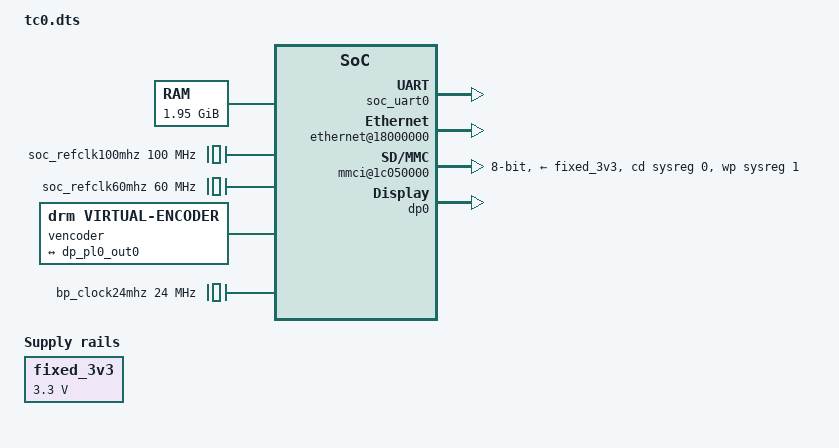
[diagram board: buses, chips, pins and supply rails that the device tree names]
/*
 * Copyright (c) 2020-2021, Arm Limited. All rights reserved.
 *
 * SPDX-License-Identifier: BSD-3-Clause
 */

/dts-v1/;

/ {
	compatible = "arm,tc0";
	interrupt-parent = <&gic>;
	#address-cells = <2>;
	#size-cells = <2>;

	aliases {
		serial0 = &soc_uart0;
	};

	chosen {
		stdout-path = "serial0:115200n8";
	};

	cpus {
		#address-cells = <1>;
		#size-cells = <0>;

		cpu-map {
			cluster0 {
				core0 {
					cpu = <&CPU0>;
				};
				core1 {
					cpu = <&CPU1>;
				};
				core2 {
					cpu = <&CPU2>;
				};
				core3 {
					cpu = <&CPU3>;
				};
				core4 {
					cpu = <&CPU4>;
				};
				core5 {
					cpu = <&CPU5>;
				};
				core6 {
					cpu = <&CPU6>;
				};
				core7 {
					cpu = <&CPU7>;
				};
			};
		};

		/*
		 * The timings below are just to demonstrate working cpuidle.
		 * These values may be inaccurate.
		 */
		idle-states {
			entry-method = "arm,psci";

			CPU_SLEEP_0: cpu-sleep-0 {
				compatible = "arm,idle-state";
				arm,psci-suspend-param = <0x0010000>;
				local-timer-stop;
				entry-latency-us = <300>;
				exit-latency-us = <1200>;
				min-residency-us = <2000>;
			};
			CLUSTER_SLEEP_0: cluster-sleep-0 {
				compatible = "arm,idle-state";
				arm,psci-suspend-param = <0x1010000>;
				local-timer-stop;
				entry-latency-us = <400>;
				exit-latency-us = <1200>;
				min-residency-us = <2500>;
			};
		};

		CPU0:cpu@0 {
			device_type = "cpu";
			compatible = "arm,armv8";
			reg = <0x0>;
			enable-method = "psci";
			clocks = <&scmi_dvfs 0>;
			cpu-idle-states = <&CPU_SLEEP_0 &CLUSTER_SLEEP_0>;
		};

		CPU1:cpu@100 {
			device_type = "cpu";
			compatible = "arm,armv8";
			reg = <0x100>;
			enable-method = "psci";
			clocks = <&scmi_dvfs 0>;
			cpu-idle-states = <&CPU_SLEEP_0 &CLUSTER_SLEEP_0>;
		};

		CPU2:cpu@200 {
			device_type = "cpu";
			compatible = "arm,armv8";
			reg = <0x200>;
			enable-method = "psci";
			clocks = <&scmi_dvfs 0>;
			cpu-idle-states = <&CPU_SLEEP_0 &CLUSTER_SLEEP_0>;
		};

		CPU3:cpu@300 {
			device_type = "cpu";
			compatible = "arm,armv8";
			reg = <0x300>;
			enable-method = "psci";
			clocks = <&scmi_dvfs 0>;
			cpu-idle-states = <&CPU_SLEEP_0 &CLUSTER_SLEEP_0>;
		};

		CPU4:cpu@400 {
			device_type = "cpu";
			compatible = "arm,armv8";
			reg = <0x400>;
			enable-method = "psci";
			clocks = <&scmi_dvfs 1>;
			cpu-idle-states = <&CPU_SLEEP_0 &CLUSTER_SLEEP_0>;
		};

		CPU5:cpu@500 {
			device_type = "cpu";
			compatible = "arm,armv8";
			reg = <0x500>;
			enable-method = "psci";
			clocks = <&scmi_dvfs 1>;
			cpu-idle-states = <&CPU_SLEEP_0 &CLUSTER_SLEEP_0>;
		};

		CPU6:cpu@600 {
			device_type = "cpu";
			compatible = "arm,armv8";
			reg = <0x600>;
			enable-method = "psci";
			clocks = <&scmi_dvfs 1>;
			cpu-idle-states = <&CPU_SLEEP_0 &CLUSTER_SLEEP_0>;
		};

		CPU7:cpu@700 {
			device_type = "cpu";
			compatible = "arm,armv8";
			reg = <0x700>;
			enable-method = "psci";
			clocks = <&scmi_dvfs 2>;
			cpu-idle-states = <&CPU_SLEEP_0 &CLUSTER_SLEEP_0>;
		};

	};

	memory@80000000 {
		device_type = "memory";
		reg = <0x0 0x80000000 0x0 0x7d000000>;
	};

	reserved-memory {
		#address-cells = <2>;
		#size-cells = <2>;
		ranges;

		optee@0xfce00000 {
			reg = <0x00000000 0xfce00000 0 0x00200000>;
			no-map;
		};
	};

	psci {
		compatible = "arm,psci-1.0", "arm,psci-0.2", "arm,psci";
		method = "smc";
	};

	sram: sram@6000000 {
		compatible = "mmio-sram";
		reg = <0x0 0x06000000 0x0 0x8000>;

		#address-cells = <1>;
		#size-cells = <1>;
		ranges = <0 0x0 0x06000000 0x8000>;

		cpu_scp_scmi_mem: scp-shmem@0 {
			compatible = "arm,scmi-shmem";
			reg = <0x0 0x80>;
		};
	};

	mbox_db_rx: mhu@45010000 {
		compatible = "arm,mhuv2","arm,primecell";
		reg = <0x0 0x45010000 0x0 0x1000>;
		clocks = <&soc_refclk100mhz>;
		clock-names = "apb_pclk";
		#mbox-cells = <1>;
		interrupts = <0 317 4>;
		interrupt-names = "mhu_rx";
		mhu-protocol = "doorbell";
	};

	mbox_db_tx: mhu@45000000 {
		compatible = "arm,mhuv2","arm,primecell";
		reg = <0x0 0x45000000 0x0 0x1000>;
		clocks = <&soc_refclk100mhz>;
		clock-names = "apb_pclk";
		#mbox-cells = <1>;
		interrupt-names = "mhu_tx";
		mhu-protocol = "doorbell";
	};

	scmi {
		compatible = "arm,scmi";
		method = "mailbox-doorbell";
		mbox-names = "tx", "rx";
		mboxes = <&mbox_db_tx 0 &mbox_db_rx 0>;
		shmem = <&cpu_scp_scmi_mem &cpu_scp_scmi_mem>;
		#address-cells = <1>;
		#size-cells = <0>;

		scmi_dvfs: protocol@13 {
			reg = <0x13>;
			#clock-cells = <1>;
		};

		scmi_clk: protocol@14 {
			reg = <0x14>;
			#clock-cells = <1>;
		};
	};

	gic: interrupt-controller@2c010000 {
		compatible = "arm,gic-600", "arm,gic-v3";
		#address-cells = <2>;
		#interrupt-cells = <3>;
		#size-cells = <2>;
		ranges;
		interrupt-controller;
		reg = <0x0 0x30000000 0 0x10000>, /* GICD */
		      <0x0 0x30080000 0 0x200000>; /* GICR */
		interrupts = <0x1 0x9 0x4>;
	};

	timer {
		compatible = "arm,armv8-timer";
		interrupts = <0x1 13 0x8>,
			     <0x1 14 0x8>,
			     <0x1 11 0x8>,
			     <0x1 10 0x8>;
	};

	soc_refclk100mhz: refclk100mhz {
		compatible = "fixed-clock";
		#clock-cells = <0>;
		clock-frequency = <100000000>;
		clock-output-names = "apb_pclk";
	};

	soc_refclk60mhz: refclk60mhz {
		compatible = "fixed-clock";
		#clock-cells = <0>;
		clock-frequency = <60000000>;
		clock-output-names = "iofpga_clk";
	};

	soc_uartclk:  uartclk {
		compatible = "fixed-clock";
		#clock-cells = <0>;
		clock-frequency = <50000000>;
		clock-output-names = "uartclk";
	};

	soc_uart0: uart@7ff80000 {
		compatible = "arm,pl011", "arm,primecell";
		reg = <0x0 0x7ff80000 0x0 0x1000>;
		interrupts = <0x0 116 0x4>;
		clocks = <&soc_uartclk>, <&soc_refclk100mhz>;
		clock-names = "uartclk", "apb_pclk";
		status = "okay";
	};

	vencoder {
		compatible = "drm,virtual-encoder";

		port {
			vencoder_in: endpoint {
				remote-endpoint = <&dp_pl0_out0>;
			};
		};

		display-timings {
			panel-timing {
				clock-frequency = <25175000>;
				hactive = <640>;
				vactive = <480>;
				hfront-porch = <16>;
				hback-porch = <48>;
				hsync-len = <96>;
				vfront-porch = <10>;
				vback-porch = <33>;
				vsync-len = <2>;
			};
		};

	};

	hdlcd: hdlcd@7ff60000 {
		compatible = "arm,hdlcd";
		reg = <0x0 0x7ff60000 0x0 0x1000>;
		interrupts = <0x0 117 0x4>;
		clocks = <&fake_hdlcd_clk>;
		clock-names = "pxlclk";
		status = "disabled";

		port {
			hdlcd_out: endpoint {
				remote-endpoint = <&vencoder_in>;
			};
		};
	};

	fake_hdlcd_clk: fake-hdlcd-clk {
		compatible = "fixed-clock";
		#clock-cells = <0>;
		clock-frequency = <25175000>;
		clock-output-names = "pxlclk";
	};

	ethernet@18000000 {
		compatible = "smsc,lan91c111";
		reg = <0x0 0x18000000 0x0 0x10000>;
		interrupts = <0 109 4>;
	};

	kmi@1c060000 {
		compatible = "arm,pl050", "arm,primecell";
		reg = <0x0 0x001c060000 0x0 0x1000>;
		interrupts = <0 197 4>;
		clocks = <&bp_clock24mhz>, <&bp_clock24mhz>;
		clock-names = "KMIREFCLK", "apb_pclk";
	};

	kmi@1c070000 {
		compatible = "arm,pl050", "arm,primecell";
		reg = <0x0 0x001c070000 0x0 0x1000>;
		interrupts = <0 103 4>;
		clocks = <&bp_clock24mhz>, <&bp_clock24mhz>;
		clock-names = "KMIREFCLK", "apb_pclk";
	};

	bp_clock24mhz: clock24mhz {
		compatible = "fixed-clock";
		#clock-cells = <0>;
		clock-frequency = <24000000>;
		clock-output-names = "bp:clock24mhz";
	};

	virtio_block@1c130000 {
		compatible = "virtio,mmio";
		reg = <0x0 0x1c130000 0x0 0x200>;
		interrupts = <0 204 4>;
	};

	sysreg: sysreg@1c010000 {
		compatible = "arm,vexpress-sysreg";
		reg = <0x0 0x001c010000 0x0 0x1000>;
		gpio-controller;
		#gpio-cells = <2>;
	};

	fixed_3v3: v2m-3v3 {
		compatible = "regulator-fixed";
		regulator-name = "3V3";
		regulator-min-microvolt = <3300000>;
		regulator-max-microvolt = <3300000>;
		regulator-always-on;
	};

	mmci@1c050000 {
		compatible = "arm,pl180", "arm,primecell";
		reg = <0x0 0x001c050000 0x0 0x1000>;
		interrupts = <0 107 0x4>,
			     <0 108 0x4>;
		cd-gpios = <&sysreg 0 0>;
		wp-gpios = <&sysreg 1 0>;
		bus-width = <8>;
		max-frequency = <12000000>;
		vmmc-supply = <&fixed_3v3>;
		clocks = <&bp_clock24mhz>, <&bp_clock24mhz>;
		clock-names = "mclk", "apb_pclk";
	};

	dp0: display@2cc00000 {
		#address-cells = <1>;
		#size-cells = <0>;
		compatible = "arm,mali-d71";
		reg = <0 0x2cc00000 0 0x20000>;
		interrupts = <0 69 4>;
		interrupt-names = "DPU";
		clocks = <&scmi_clk 0>;
		clock-names = "aclk";
		pl0: pipeline@0 {
			reg = <0>;
			clocks = <&scmi_clk 1>;
			clock-names = "pxclk";
			pl_id = <0>;
			ports {
				#address-cells = <1>;
				#size-cells = <0>;
				port@0 {
					reg = <0>;
					dp_pl0_out0: endpoint {
						remote-endpoint = <&vencoder_in>;
					};
				};
			};
		};

		pl1: pipeline@1 {
			reg = <1>;
			clocks = <&scmi_clk 2>;
			clock-names = "pxclk";
			pl_id = <1>;
			ports {
				#address-cells = <1>;
				#size-cells = <0>;
				port@0 {
					reg = <0>;
				};
			};
		};
	};

	ffa {
		compatible = "arm,ffa";
		conduit = "smc";
		mem_share_buffer = "tx";
	};

	firmware {
		optee {
		      compatible = "linaro,optee-tz";
		      method = "ffa";
		};
	};
};
